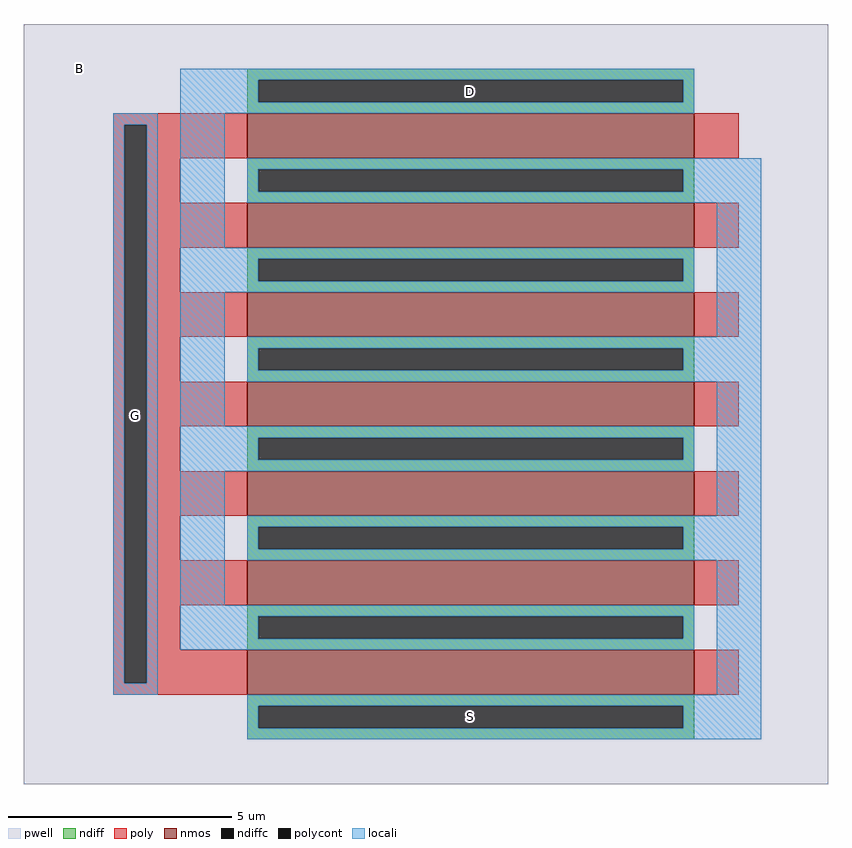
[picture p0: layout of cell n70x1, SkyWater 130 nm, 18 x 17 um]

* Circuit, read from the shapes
.subckt n70x1 D G S B
XM1 D G S B sky130_fd_pr__nfet_01v8 w=10 l=1 m=7
.ends

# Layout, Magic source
magic
tech sky130A
<< pwell >>
rect -900 -1100 900 600
<< nmos >>
rect -400 300 600 400
rect -400 100 600 200
rect -400 -100 600 0
rect -400 -300 600 -200
rect -400 -500 600 -400
rect -400 -700 600 -600
rect -400 -900 600 -800
<< ndiff >>
rect -400 475 600 500
rect -400 425 -375 475
rect 575 425 600 475
rect -400 400 600 425
rect -400 275 600 300
rect -400 225 -375 275
rect 575 225 600 275
rect -400 200 600 225
rect -400 75 600 100
rect -400 25 -375 75
rect 575 25 600 75
rect -400 0 600 25
rect -400 -125 600 -100
rect -400 -175 -375 -125
rect 575 -175 600 -125
rect -400 -200 600 -175
rect -400 -325 600 -300
rect -400 -375 -375 -325
rect 575 -375 600 -325
rect -400 -400 600 -375
rect -400 -525 600 -500
rect -400 -575 -375 -525
rect 575 -575 600 -525
rect -400 -600 600 -575
rect -400 -725 600 -700
rect -400 -775 -375 -725
rect 575 -775 600 -725
rect -400 -800 600 -775
rect -400 -925 600 -900
rect -400 -975 -375 -925
rect 575 -975 600 -925
rect -400 -1000 600 -975
<< ndiffc >>
rect -375 425 575 475
rect -375 225 575 275
rect -375 25 575 75
rect -375 -175 575 -125
rect -375 -375 575 -325
rect -375 -575 575 -525
rect -375 -775 575 -725
rect -375 -975 575 -925
<< poly >>
rect -700 375 -400 400
rect -700 -875 -675 375
rect -625 300 -400 375
rect 600 300 700 400
rect -625 200 -550 300
rect -625 100 -400 200
rect 600 100 700 200
rect -625 0 -550 100
rect -625 -100 -400 0
rect 600 -100 700 0
rect -625 -200 -550 -100
rect -625 -300 -400 -200
rect 600 -300 700 -200
rect -625 -400 -550 -300
rect -625 -500 -400 -400
rect 600 -500 700 -400
rect -625 -600 -550 -500
rect -625 -700 -400 -600
rect 600 -700 700 -600
rect -625 -800 -550 -700
rect -625 -875 -400 -800
rect -700 -900 -400 -875
rect 600 -900 700 -800
<< polycont >>
rect -675 -875 -625 375
<< locali >>
rect -550 475 600 500
rect -550 425 -375 475
rect 575 425 600 475
rect -550 400 600 425
rect -700 375 -600 400
rect -700 -875 -675 375
rect -625 -875 -600 375
rect -550 100 -450 400
rect -400 275 750 300
rect -400 225 -375 275
rect 575 225 750 275
rect -400 200 750 225
rect -550 75 600 100
rect -550 25 -375 75
rect 575 25 600 75
rect -550 0 600 25
rect -550 -300 -450 0
rect 650 -100 750 200
rect -400 -125 750 -100
rect -400 -175 -375 -125
rect 575 -175 750 -125
rect -400 -200 750 -175
rect -550 -325 600 -300
rect -550 -375 -375 -325
rect 575 -375 600 -325
rect -550 -400 600 -375
rect -550 -700 -450 -400
rect 650 -500 750 -200
rect -400 -525 750 -500
rect -400 -575 -375 -525
rect 575 -575 750 -525
rect -400 -600 750 -575
rect -550 -725 600 -700
rect -550 -775 -375 -725
rect 575 -775 600 -725
rect -550 -800 600 -775
rect -700 -900 -600 -875
rect 650 -900 750 -600
rect -400 -925 750 -900
rect -400 -975 -375 -925
rect 575 -975 750 -925
rect -400 -1000 750 -975
<< labels >>
flabel ndiffc 100 450 100 450 0 FreeSans 400 0 0 0 D
port 0 nsew
flabel polycont -650 -275 -650 -275 0 FreeSans 400 0 0 0 G
port 1 nsew
flabel ndiffc 100 -950 100 -950 0 FreeSans 400 0 0 0 S
port 2 nsew
flabel pwell -775 500 -775 500 0 FreeSans 400 0 0 0 B
port 3 nsew
<< properties >>
string n70x1 parameters
<< end >>
